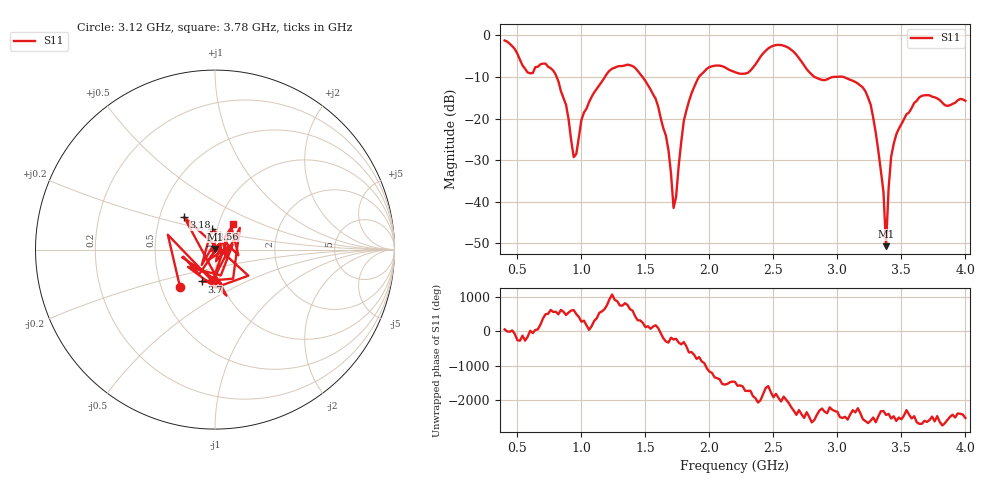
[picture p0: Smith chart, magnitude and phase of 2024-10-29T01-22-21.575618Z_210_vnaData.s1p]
!Created with skrf (http://scikit-rf.org).
# Hz S RI R 50.0
!freq ReS11 ImS11
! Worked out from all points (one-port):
!   181 points, 400 MHz to 4 GHz, reference 50 ohm
!   lowest |S11| = -50.7 dB at 3.38 GHz (marker M1), VSWR 1.01, Z = 50 + j0.293 ohm
!   |S11| at or under -10 dB: 807 MHz to 1.183 GHz (376 MHz wide, 37.8 % of centre); 1.478 GHz to 1.918 GHz (439.1 MHz wide, 25.9 % of centre); 3.049 GHz to end of sweep (the widest 3 of 4)
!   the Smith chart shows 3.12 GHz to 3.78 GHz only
!   S11 on the Smith chart (normalised r, x): 3.12 GHz: 0.62, -0.28; 3.18 GHz: 0.67, +0.26; 3.56 GHz: 0.94, +0.22; 3.7 GHz: 0.81, -0.30; 3.78 GHz: 1.17, +0.35
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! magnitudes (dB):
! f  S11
! 400 MHz  -1.2
! 580 MHz  -8.9
! 780 MHz  -8.4
! 860 MHz  -15.0
! 940 MHz  -29.2
! 1.08 GHz  -14.8
! 1.3 GHz  -7.4
! 1.58 GHz  -15.2
! 1.68 GHz  -27.5
! 1.72 GHz  -41.5
! 1.76 GHz  -31.3
! 1.8 GHz  -20.5
! 1.92 GHz  -9.9
! 2.2 GHz  -8.8
! 2.5 GHz  -2.5
! 2.66 GHz  -4.0
! 2.82 GHz  -10.0
! 3.1 GHz  -10.7
! 3.12 GHz  -10.9
! 3.18 GHz  -12.0
! 3.3 GHz  -23.4
! 3.36 GHz  -37.6
! 3.38 GHz  -50.7
! 3.42 GHz  -29.2
! 3.56 GHz  -18.5
! 3.7 GHz  -14.3
! 3.78 GHz  -15.1
! 4 GHz  -15.7
